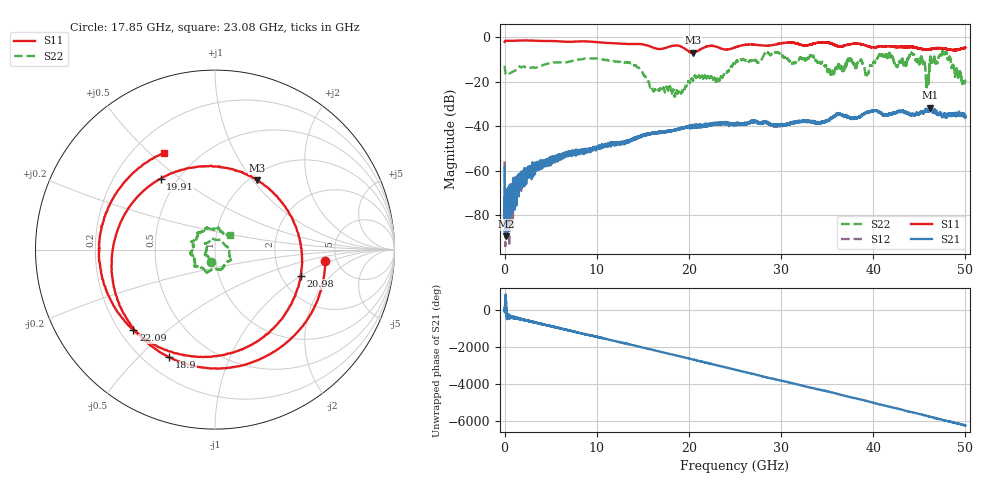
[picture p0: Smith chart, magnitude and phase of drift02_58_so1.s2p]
!Created with skrf (http://scikit-rf.org).
# Hz S RI R 50.0
!freq ReS11 ImS11 ReS21 ImS21 ReS12 ImS12 ReS22 ImS22
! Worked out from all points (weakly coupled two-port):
!   10001 points, 300 kHz to 50 GHz, reference 50 ohm
!   highest |S21| = -31.63 dB at 46.19 GHz (marker M1); lowest = -89.7 dB at 120.3 MHz (marker M2)
!   lowest |S11| = -6.9 dB at 20.41 GHz (marker M3), VSWR 2.64, Z = 54.1 + j52.4 ohm
!   |S11| at or under -10 dB: nowhere
!   |S22| runs from -26.6 to -5.9 dB; largest |S21 - S12| = 0.003
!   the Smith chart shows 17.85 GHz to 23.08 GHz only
!   S11 on the Smith chart (normalised r, x): 17.85 GHz: 4.03, -0.86; 18.9 GHz: 0.30, -0.62; 19.91 GHz: 0.41, +0.43; 20.98 GHz: 2.55, -1.00; 22.09 GHz: 0.26, -0.39; 23.08 GHz: 0.32, +0.56
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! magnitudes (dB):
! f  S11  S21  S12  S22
! 300 kHz  -2.0  -58.3  -55.9  -12.7
! 120.3 MHz  -1.5  -89.7  -74.0  -16.6
! 255.3 MHz  -1.4  -80.2  -83.2  -17.0
! 8.335 GHz  -1.7  -51.4  -51.1  -9.7
! 13.71 GHz  -3.0  -46.2  -46.2  -11.6
! 16.67 GHz  -5.2  -42.8  -42.8  -23.6
! 17.85 GHz  -4.2  -42.4  -42.1  -22.8
! 18.9 GHz  -3.7  -41.3  -41.3  -23.9
! 19.91 GHz  -6.0  -40.6  -40.3  -19.8
! 20.41 GHz  -6.9  -40.4  -39.9  -19.1
! 20.98 GHz  -6.0  -40.0  -40.6  -16.7
! 22.09 GHz  -3.9  -39.2  -39.2  -17.7
! 23.08 GHz  -4.3  -38.9  -38.8  -18.9
! 25 GHz  -4.5  -38.8  -39.2  -11.6
! 33.34 GHz  -3.0  -38.1  -37.8  -8.4
! 39.33 GHz  -3.8  -33.9  -33.7  -16.6
! 41.67 GHz  -3.9  -34.4  -34.7  -7.7
! 44.27 GHz  -4.2  -34.5  -34.6  -7.5
! 45.86 GHz  -5.5  -33.2  -32.8  -18.1
! 46.19 GHz  -5.3  -31.6  -31.5  -9.4
! 47.74 GHz  -5.0  -34.4  -34.5  -7.3
! 50 GHz  -4.7  -35.5  -35.2  -18.7
